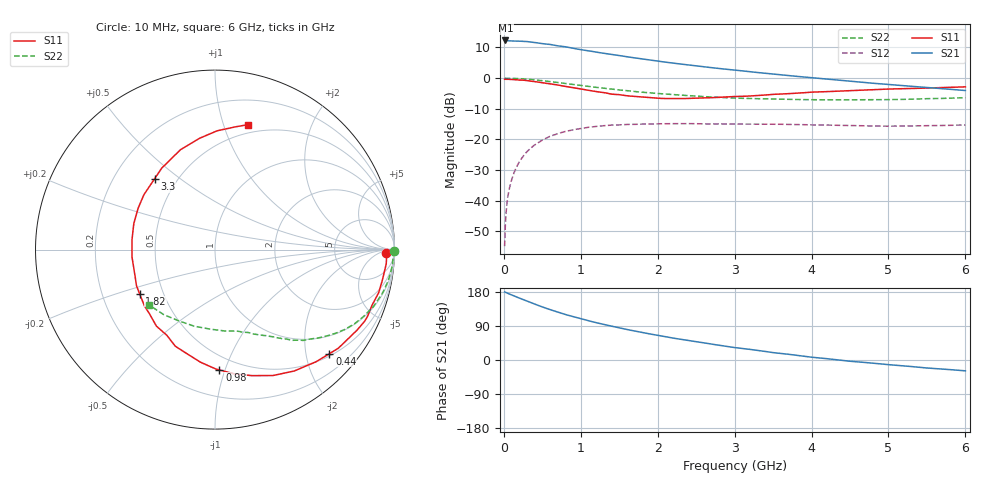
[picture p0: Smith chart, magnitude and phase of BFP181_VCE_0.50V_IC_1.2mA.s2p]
! Infineon Technologies  Discrete & RF Semiconductors
! BFP181
! VCE = 0.50V,  IC =  1.2 mA
! Common Emitter S-Parameters:  Jan 2016
# GHz  S  MA  R  50
!  f  S11  S21  S12  S22
! GHz  MAG  ANG  MAG  ANG  MAG  ANG  MAG  ANG
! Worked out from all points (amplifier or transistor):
!   210 points, 10 MHz to 6 GHz, reference 50 ohm
!   highest |S21| = 12.3 dB at 20 MHz (marker M1)
!   |S21| within 3 dB of that: start of sweep to 997.8 MHz
!   unconditionally stable (mu >= 1): 2.498 GHz to end of sweep
!   at 185 MHz: K = 0.09, MSG = 20.1 dB, |S12| = -28.1 dB
!   at 1.52 GHz: K = 0.64, MSG = 11.3 dB, |S12| = -15.2 dB
!   at 6 GHz: K = 1.48, MAG = 1.6 dB, |S12| = -15.3 dB
!   S11 on the Smith chart (normalised r, x): 10 MHz: 38, -15; 440 MHz: 0.55, -2.48; 980 MHz: 0.39, -0.96; 1.82 GHz: 0.37, -0.24; 3.3 GHz: 0.38, +0.41; 6 GHz: 0.42, +1.21
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0.01  0.9553 -1.0  4.081 179.5  0.0018 93.2  0.9968 -0.4
0.02  0.9571 -2.1  4.118 178.9  0.0041 88.6  0.9903 -1.0
0.035  0.9569 -3.5  4.098 177.4  0.0077 88.4  0.9916 -1.8
0.055  0.9561 -5.3  4.076 175.5  0.0123 87.5  0.9929 -2.8
0.14  0.9434 -13.8  4.035 168.5  0.03 80.3  0.987 -7.3
0.3  0.9101 -29.5  3.954 155.8  0.0629 70.8  0.9616 -15.1
0.44  0.8615 -42.3  3.747 144.5  0.0872 62.2  0.9248 -21.6
0.6  0.8075 -56.9  3.548 133.0  0.112 53.7  0.8799 -28.1
0.7  0.7723 -65.3  3.366 126.4  0.124 48.7  0.8478 -31.7
0.8  0.7317 -73.7  3.247 120.0  0.1344 44.4  0.8174 -34.8
0.98  0.671 -87.9  2.942 109.9  0.1489 37.2  0.7613 -40.1
1.02  0.6579 -91.1  2.887 107.7  0.1517 35.8  0.7501 -41.2
1.2  0.6025 -104.6  2.657 98.6  0.1629 29.3  0.7067 -45.7
1.4  0.5475 -119.4  2.429 89.2  0.1708 23.9  0.6625 -49.7
1.82  0.4868 -149.7  2.037 71.7  0.1774 15.3  0.5845 -56.3
2.02  0.4676 -163.0  1.878 64.3  0.1796 11.9  0.5585 -59.2
2.44  0.4663 171.0  1.617 50.2  0.1803 5.3  0.5134 -65.9
3.1  0.5039 138.3  1.312 30.5  0.1771 -1.4  0.4674 -76.3
3.3  0.5186 130.5  1.233 25.3  0.1771 -2.7  0.4611 -79.7
4.1  0.5947 106.6  0.988 5.5  0.1718 -7.6  0.442 -96.1
5.1  0.6666 87.4  0.768 -13.9  0.1643 -9.8  0.447 -119.1
6  0.7195 75.3  0.627 -28.6  0.1713 -9.3  0.479 -139.7
